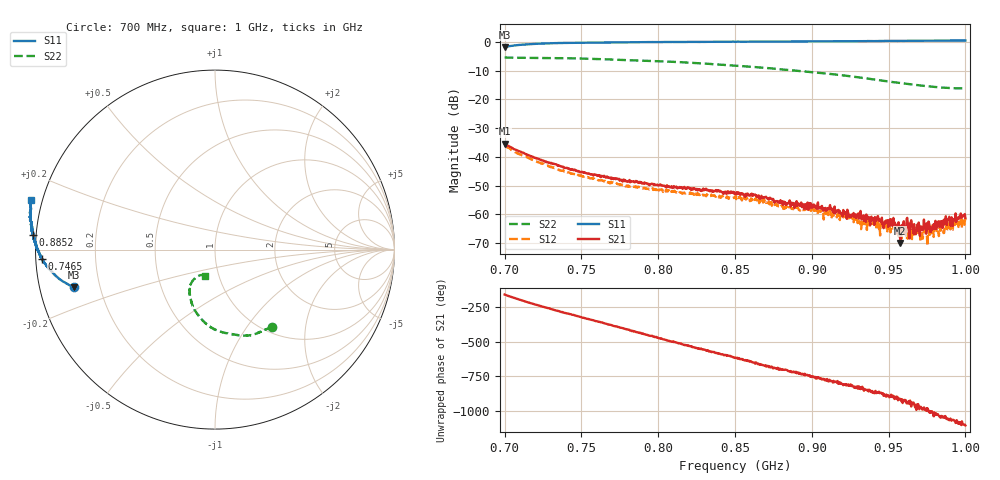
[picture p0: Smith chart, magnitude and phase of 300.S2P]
! C:\Users\rflab\Downloads\Lab5_KD_ZW\Q2\728 MHz\300.S2P
! Touchstone 1.1 file saved by VNA.EXE V1.65 (www.ke5fx.com/gpib/readme.htm)
! 11/18/2024 9:29:19 PM
!  Source: HEWLETT PACKARD,8753D,0,6.14
!  Min freq: 7.000000E+008 Hz
!  Max freq: 1.000000E+009 Hz
!  Points: 801
!  Params: S11 S21 S12 S22
# GHZ S MA R 50
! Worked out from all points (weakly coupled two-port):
!   801 points, 700 MHz to 1 GHz, reference 50 ohm
!   highest |S21| = -35.44 dB at 700 MHz (marker M1); lowest = -70.0 dB at 957.6 MHz (marker M2)
!   lowest |S11| = -1.8 dB at 700 MHz (marker M3), VSWR 9.75, Z = 5.22 - j6.52 ohm
!   |S11| at or under -10 dB: nowhere
!   |S22| runs from -16.1 to -5.4 dB; largest |S21 - S12| = 0.0055
!   S11 on the Smith chart (normalised r, x): 700 MHz: 0.10, -0.13; 746.5 MHz: 0.02, -0.03; 885.2 MHz: -0.01, +0.04; 1 GHz: -0.03, +0.13
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0.7  0.8139 -165.0  0.01691 -156.5  0.01587 -175.4  0.5348 -53.8
0.71875  0.9211 -172.5  0.00985 135.0  0.008699 115.4  0.5255 -58.4
0.7465  0.9668 -177.0  0.005717 49.0  0.004962 31.0  0.5183 -66.9
0.75025  0.9706 -177.4  0.005541 37.7  0.004683 18.3  0.5145 -68.1
0.800125  0.9948 179.1  0.003251 -112.5  0.002618 -130.4  0.4622 -85.0
0.85  1.011 176.7  0.00237 104.5  0.001997 91.0  0.386 -102.6
0.88525  1.016 175.3  0.001644 5.8  0.001329 -10.7  0.3243 -113.5
0.90025  1.022 174.5  0.001317 -35.4  0.001211 -46.3  0.2979 -117.6
0.926125  1.027 173.2  0.000938 -95.7  0.000931 -113.7  0.2513 -123.9
0.931  1.028 172.7  0.000946 -121.8  0.000736 -129.3  0.2416 -124.7
0.93925  1.034 172.1  0.000791 -137.4  0.000652 -155.5  0.2248 -125.5
0.944125  1.036 171.5  0.000811 -153.5  0.000657 -164.8  0.2155 -125.7
0.946375  1.039 171.2  0.000706 -154.3  0.00071 -170.2  0.211 -125.6
0.950125  1.042 171.1  0.000703 -170.9  0.000596 170.9  0.2046 -125.5
0.953125  1.043 171.0  0.000871 175.2  0.000562 164.7  0.1998 -125.3
0.957625  1.044 170.5  0.000318 158.6  0.000438 146.6  0.1926 -124.7
0.96325  1.046 170.2  0.000643 149.2  0.000522 106.8  0.1846 -124.2
0.967  1.045 169.8  0.000462 115.2  0.00065 108.9  0.1798 -123.4
0.976375  1.049 168.8  0.0007 78.2  0.000444 59.8  0.1686 -121.2
0.97975  1.048 168.5  0.000551 66.9  0.000619 43.4  0.1649 -120.2
0.98725  1.052 167.1  0.000933 31.2  0.000731 1.5  0.1589 -117.2
1  1.059 164.9  0.000859 -28.3  0.000862 -43.5  0.1567 -111.0
